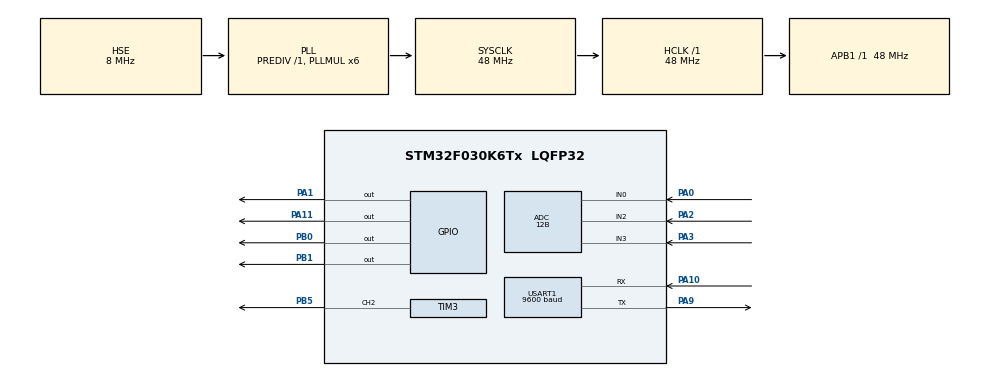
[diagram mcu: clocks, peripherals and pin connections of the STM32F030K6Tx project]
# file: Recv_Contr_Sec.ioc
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ADC.ClockPrescaler=ADC_CLOCK_ASYNC_DIV1
ADC.ContinuousConvMode=DISABLE
ADC.DMAContinuousRequests=ENABLE
ADC.DataAlign=ADC_DATAALIGN_RIGHT
ADC.DiscontinuousConvMode=DISABLE
ADC.EOCSelection=ADC_EOC_SINGLE_CONV
ADC.EnableAnalogWatchDog=false
ADC.ExternalTrigConv=ADC_SOFTWARE_START
ADC.ExternalTrigConvEdge=ADC_EXTERNALTRIGCONVEDGE_NONE
ADC.LowPowerAutoPowerOff=DISABLE
ADC.LowPowerAutoWait=DISABLE
ADC.Overrun=ADC_OVR_DATA_OVERWRITTEN
ADC.Rank=ADC_RANK_CHANNEL_NUMBER
ADC.Resolution=ADC_RESOLUTION_12B
ADC.SamplingTime=ADC_SAMPLETIME_1CYCLE_5
ADC.ScanConvMode=ADC_SCAN_DIRECTION_FORWARD
Dma.ADC.0.Direction=DMA_PERIPH_TO_MEMORY
Dma.ADC.0.Instance=DMA1_Channel1
Dma.ADC.0.MemDataAlignment=DMA_MDATAALIGN_WORD
Dma.ADC.0.MemInc=DMA_MINC_ENABLE
Dma.ADC.0.Mode=DMA_NORMAL
Dma.ADC.0.PeriphDataAlignment=DMA_PDATAALIGN_WORD
Dma.ADC.0.PeriphInc=DMA_PINC_DISABLE
Dma.ADC.0.Priority=DMA_PRIORITY_LOW
Dma.Request0=ADC
Dma.Request1=USART1_TX
Dma.USART1_TX.1.Direction=DMA_MEMORY_TO_PERIPH
Dma.USART1_TX.1.Instance=DMA1_Channel2
Dma.USART1_TX.1.MemDataAlignment=DMA_MDATAALIGN_BYTE
Dma.USART1_TX.1.MemInc=DMA_MINC_ENABLE
Dma.USART1_TX.1.Mode=DMA_NORMAL
Dma.USART1_TX.1.PeriphDataAlignment=DMA_PDATAALIGN_BYTE
Dma.USART1_TX.1.PeriphInc=DMA_PINC_DISABLE
Dma.USART1_TX.1.Priority=DMA_PRIORITY_LOW
IWDG.Prescaler=IWDG_PRESCALER_16
IWDG.Reload=0xfff
IWDG.Window=0xfff
Mcu.Family=STM32F0
Mcu.Name=STM32F030K6Tx
Mcu.Package=LQFP32
NVIC.DMA1_Channel1_IRQn=true\:0\:0\:false\:false\:true
NVIC.DMA1_Channel2_3_IRQn=true\:0\:0\:false\:false\:true
NVIC.TIM16_IRQn=true\:0\:0\:false\:false\:true
NVIC.USART1_IRQn=true\:0\:0\:false\:false\:true
PA0.Mode=IN0
PA0.Signal=ADC_IN0
PA1.GPIO_Speed=GPIO_SPEED_FREQ_HIGH
PA1.PinState=GPIO_PIN_SET
PA1.Signal=GPIO_Output
PA10.Mode=Asynchronous
PA10.Signal=USART1_RX
PA11.GPIO_PuPd=GPIO_PULLDOWN
PA11.GPIO_Speed=GPIO_SPEED_FREQ_HIGH
PA11.Signal=GPIO_Output
PA13.Mode=Serial_Wire
PA13.Signal=SYS_SWDIO
PA14.Mode=Serial_Wire
PA14.Signal=SYS_SWCLK
PA2.Mode=IN2
PA2.Signal=ADC_IN2
PA3.Mode=IN3
PA3.Signal=ADC_IN3
PA9.Mode=Asynchronous
PA9.Signal=USART1_TX
PB0.GPIO_Speed=GPIO_SPEED_FREQ_HIGH
PB0.Signal=GPIO_Output
PB1.GPIO_Speed=GPIO_SPEED_FREQ_HIGH
PB1.Signal=GPIO_Output
PB5.GPIO_PuPd=GPIO_NOPULL
PB5.GPIO_Speed=GPIO_SPEED_FREQ_HIGH
PB5.Signal=S_TIM3_CH2
PF0-OSC_IN.Mode=HSE-External-Oscillator
PF0-OSC_IN.Signal=RCC_OSC_IN
PF1-OSC_OUT.Mode=HSE-External-Oscillator
PF1-OSC_OUT.Signal=RCC_OSC_OUT
ProjectManager.HeapSize=0x200
ProjectManager.StackSize=0x400
ProjectManager.TargetToolchain=MDK-ARM V5
RCC.AHBFreq_Value=48000000
RCC.APB1Freq_Value=48000000
RCC.APB1TimFreq_Value=48000000
RCC.CECEnable=false
RCC.ClockTypeHCLK=RCC_CLOCKTYPE_HCLK
RCC.ClockTypePCLK1=RCC_CLOCKTYPE_PCLK1
RCC.DATA_CACHE_ENABLE=0
RCC.EnableHSE=true
RCC.EnableHSERTCDevisor=false
RCC.EnableLSE=false
RCC.EnableLSERTC=false
RCC.EnableMCOMultDivisor=false
RCC.HCLKFreq_Value=48000000
RCC.HSEState=RCC_HSE_ON
RCC.HSI14State=RCC_HSI14_ON
RCC.HSI48State=RCC_HSI48_OFF
RCC.HSIState=RCC_HSI_ON
RCC.I2C1Enable=false
RCC.INSTRUCTION_CACHE_ENABLE=0
RCC.IWDGEnable=true
RCC.LSIState=RCC_LSI_ON
RCC.MCOEnable=false
RCC.OscillatorTypeHSE=RCC_OSCILLATORTYPE_HSE
RCC.OscillatorTypeHSI=RCC_OSCILLATORTYPE_HSI
RCC.OscillatorTypeHSI14=RCC_OSCILLATORTYPE_HSI14
RCC.OscillatorTypeLSI=RCC_OSCILLATORTYPE_LSI
RCC.PLLMUL=RCC_PLL_MUL6
RCC.PLLSource=RCC_PLLSOURCE_HSE
RCC.PLLSourceVirtual=RCC_PLLSOURCE_HSE
RCC.PLLState=RCC_PLL_ON
RCC.RCC_PERIPHCLK_USART1Var=RCC_PERIPHCLK_USART1
RCC.RTCEnable=false
RCC.SYSCLKFreq_VALUE=48000000
RCC.SYSCLKSource=RCC_SYSCLKSOURCE_PLLCLK
RCC.USART1Enable=true
RCC.USART2Enable=false
RCC.USBEnable=false
RCC.Usart1ClockSelection=RCC_USART1CLKSOURCE_PCLK1
SH.S_TIM3_CH2.0=TIM3_CH2,PWM Generation2 CH2
TIM16.Period=560
TIM16.Prescaler=47
TIM3.Channel-PWM\ Generation2\ CH2=TIM_CHANNEL_2
TIM3.ClearInputSource=TIM_CLEARINPUTSOURCE_NONE
TIM3.ClearInputState=ENABLE
TIM3.Period=26
TIM3.Prescaler=47
TIM3.Pulse-PWM\ Generation2\ CH2=13
USART1.BaudRate=9600
USART1.HwFlowCtl-Asynchronous=UART_HWCONTROL_NONE
USART1.VirtualMode-Asynchronous=VM_ASYNC
VP_IWDG_VS_IWDG.Mode=IWDG_Activate
VP_TIM16_VS_ClockSourceINT.Mode=Enable_Timer
board=Recv_Contr_Sec

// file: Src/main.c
/**
  ******************************************************************************
  * File Name          : main.c
  * Description        : Main program body
  ******************************************************************************
  *
  * COPYRIGHT(c) 2019 STMicroelectronics
  *
  * Redistribution and use in source and binary forms, with or without modification,
  * are permitted provided that the following conditions are met:
  *   1. Redistributions of source code must retain the above copyright notice,
  *      this list of conditions and the following disclaimer.
  *   2. Redistributions in binary form must reproduce the above copyright notice,
  *      this list of conditions and the following disclaimer in the documentation
  *      and/or other materials provided with the distribution.
  *   3. Neither the name of STMicroelectronics nor the names of its contributors
  *      may be used to endorse or promote products derived from this software
  *      without specific prior written permission.
  *
  * THIS SOFTWARE IS PROVIDED BY THE COPYRIGHT HOLDERS AND CONTRIBUTORS "AS IS"
  * AND ANY EXPRESS OR IMPLIED WARRANTIES, INCLUDING, BUT NOT LIMITED TO, THE
  * IMPLIED WARRANTIES OF MERCHANTABILITY AND FITNESS FOR A PARTICULAR PURPOSE ARE
  * DISCLAIMED. IN NO EVENT SHALL THE COPYRIGHT HOLDER OR CONTRIBUTORS BE LIABLE
  * FOR ANY DIRECT, INDIRECT, INCIDENTAL, SPECIAL, EXEMPLARY, OR CONSEQUENTIAL
  * DAMAGES (INCLUDING, BUT NOT LIMITED TO, PROCUREMENT OF SUBSTITUTE GOODS OR
  * SERVICES; LOSS OF USE, DATA, OR PROFITS; OR BUSINESS INTERRUPTION) HOWEVER
  * CAUSED AND ON ANY THEORY OF LIABILITY, WHETHER IN CONTRACT, STRICT LIABILITY,
  * OR TORT (INCLUDING NEGLIGENCE OR OTHERWISE) ARISING IN ANY WAY OUT OF THE USE
  * OF THIS SOFTWARE, EVEN IF ADVISED OF THE POSSIBILITY OF SUCH DAMAGE.
  *
  ******************************************************************************
  */
#include "main.h"
#include "stm32f0xx_hal.h"
#include "adc.h"
#include "dma.h"
#include "iwdg.h"
#include "tim.h"
#include "usart.h"
#include "gpio.h"

/* USER CODE BEGIN PV */
/* Private variables ---------------------------------------------------------*/
//以下是充电控制的相关参数
uint32_t ADC_ConvertedValue[3];//AD采样结果存储
uint16_t Vot_Battery[30],Cur_Battery[30],Temp_Battery[30];
uint16_t Vot_Battery_Average,Cur_Battery_Average,Temp_Battery_Average;
uint8_t ADC_Cnt;

//以下是状态转换的相关参数
uint8_t SystemState;
uint16_t Cur_Start,CurStop;
uint8_t Flag_WorkMode_Conversion;
uint16_t TimeCnt_WorkMode_Conversion;
/*******************************************************
SystemState用以决定工作状态切换，暂定义如下：
0：未充电状态；1：正常充电状态。只有这两种状态，中间状态不做特殊处理
*******************************************************/

//以下是红外发射的相关参数
uint8_t Flag1,Flag2,BitCnt,Flag_Infray_Done;
uint8_t Flag_Zhen_No,Flag_Infray_WaitTime;
uint16_t Jiaoyan_Infray;

//只有Flag_Infray_Done标志为1时，才允许发射红外信号
uint32_t Infray_TransDat;//要发送的数据
uint16_t Period[32];//存储每一位数据对应的Pulse信息
uint16_t TimeCnt_Infray;//用以定时1秒钟，在停止态，每隔1秒钟，发送一次红外，一次2帧

//以下是车辆自身信息
uint32_t Bike_ID;

//以下是串口控制信息
uint8_t Flag_StartByte;//表征是否检测到字头
uint8_t Byte_Cnt;//对接收字节的数量进行计数
uint8_t Data_ReceArray[6];//存储接收到的串口数据，6个字节为一组，超时未接收完成则全部舍弃
uint8_t Data_ReceSingle;//单个接收字节
uint8_t Flag_Trans_Done,Flag_Rece_Done,TimeCnt485;
uint8_t SystInfo_Package[12];
uint16_t Jiaoyan485;

//以下是FLASH相关信息
uint32_t ReadFlashData;

/* USER CODE END PV */

void SystemClock_Config(void);
void Error_Handler(void);

/* USER CODE BEGIN PFP */
/* Private function prototypes -----------------------------------------------*/
//红外发射函数，形参为要发送的32位数值
void Ir_Tx(uint32_t Dat);
//红外待发信息打包函数
void Infray_InfoPackage_First_First(void);//打包第一类帧第一分帧
void Infray_InfoPackage_First_Second(void);//打包第一类帧第二分帧
void Infray_InfoPackage_Second(void);//打包第二类帧

//FLASH读写函数
uint32_t ReadFlash(uint32_t Address);//读指定位置上的数值，一次读取4个字节
void WriteFlash(uint32_t Address);//向指定地址上写数据，半字操作，即一次写入两个字节

//变量初始化函数
void Variable_Init(void);

//全部信息打包及发送函数
void Info_Trans(void);
void Info_Package(void);

//求AD平均值函数
void ADC_Average_Function(void);

/* USER CODE END PFP */

/* USER CODE BEGIN 0 */
#define FLASH_RW_StartAddress ((uint32_t) 0x08007C04)  //FLASH第31页起始地址向后偏移4个字节，共32页，每页1k
#define Cur_Start 100
#define Cur_Stop  50
/* USER CODE END 0 */

int main(void)
{

  /* USER CODE BEGIN 1 */
	uint8_t ss,sum;
  /* USER CODE END 1 */

  /* MCU Configuration----------------------------------------------------------*/

  /* Reset of all peripherals, Initializes the Flash interface and the Systick. */
  HAL_Init();

  /* Configure the system clock */
  SystemClock_Config();

  /* Initialize all configured peripherals */
  MX_GPIO_Init();
  MX_DMA_Init();
  MX_ADC_Init();
  MX_TIM3_Init();
  MX_USART1_UART_Init();
  MX_TIM16_Init();
  MX_IWDG_Init();

  /* USER CODE BEGIN 2 */

	//变量初始化，包括车辆ID的读取，以及一些状态变量的设定
	Variable_Init();
	//使能485接收，开启中断单字节接收模式
	Rece_485_En();
	HAL_UART_Receive_IT(&huart1,&Data_ReceSingle,1);

	Flag_Infray_Done=1;//启动红外功能
	//上电1s后启动PMOS，旁路热敏电阻
	LED1_ON();LED2_ON();
	HAL_Delay(1000);
	MOS_Switch_ON();

	__HAL_IWDG_START(&hiwdg);//定时1.68秒

  /* USER CODE END 2 */

  /* Infinite loop */
  while (1)
  {

  /* USER CODE BEGIN 3 */
		//求三路AD的平均值
		ADC_Average_Function();
		HAL_IWDG_Refresh(&hiwdg);
		//485通信计时
		if(Flag_StartByte)
		{
			if(TimeCnt485>50)//已检测到字头，但50ms内未接收完成6个字节，则复位重新接收
			{
				Flag_StartByte=0;
				TimeCnt485=0;
				Byte_Cnt=0;
			}
		}
		//485指令解析
		if(Flag_Rece_Done)//接收完成6个字节的有效数据，进行处理
		{
			Flag_Rece_Done=0;
			sum=0;//求和值先清零
			for(ss=1;ss<5;ss++)
			{
				sum+=Data_ReceArray[ss];
			}
			if(sum==Data_ReceArray[5])//判断校验，校验失败则不做任何处理
			{
				switch(Data_ReceArray[0])
				{
					case 0x0F:
					{
						Info_Trans();
						break;
					}
					case 0x1E:
					{
						//修改车载设备编号，写入FLASH，然后反馈所有电路信息
						Bike_ID=0;
						Bike_ID+=Data_ReceArray[4];
						Bike_ID=Bike_ID<<8;
						Bike_ID+=Data_ReceArray[3];
						Bike_ID=Bike_ID<<8;
						Bike_ID+=Data_ReceArray[2];
						Bike_ID=Bike_ID<<8;
						Bike_ID+=Data_ReceArray[1];
						WriteFlash(FLASH_RW_StartAddress);
						Info_Trans();
						break;
					}
					default:
					{
						Info_Trans();
						break;
					}
				}
			}
		}
		//状态处理
		switch(SystemState)
		{
			case 0:
			{
				//红外发射判定--停止态，发送红外第一类帧的两个分帧以及第二类帧
				if(Flag_Infray_WaitTime)//1秒钟触发一次
				{
					//Flag_Zhen_No的转换在定时器中断中实现
					if(Flag_Infray_Done)
					{
						Flag_Infray_Done=0;
						HAL_Delay(100);
						if(Flag_Zhen_No==0)//发送第一类帧第一分帧
						{
							Infray_InfoPackage_First_First();
							Ir_Tx(Infray_TransDat);
						}
						else if(Flag_Zhen_No==1)//发送第一类帧第二分帧
						{
							Infray_InfoPackage_First_Second();
							Ir_Tx(Infray_TransDat);
						}
						else//发送第二类帧
						{
							Flag_Infray_WaitTime=0;
							Infray_InfoPackage_Second();
							Ir_Tx(Infray_TransDat);
						}
					}
				}
				//状态转换判定--充电电流作为判断标准
				if(Cur_Battery_Average>Cur_Start)
				{
					if(!Flag_WorkMode_Conversion)//首次检测到输入电压超出设定的阈值
					{
						Flag_WorkMode_Conversion=1;//设置标志位
					}
					else//之前已检测到输入电压过高，此处对有电流的时间进行计时判断
					{
						if(Flag_WorkMode_Conversion>2)//值-1即已延时的秒数，此处判断有电流的时间是否已持续1s
						{
							SystemState=1;
							Flag_WorkMode_Conversion=0;
							TimeCnt_WorkMode_Conversion=0;
						}//如果持续时间未到，则不动作
					}
				}
				//有电流，则设置Flag_WorkMode_Conversion标志位，并开始计数
				//电流过低，则清除标志位，重新检测，只有电流持续存在，才会使得Flag_WorkMode_Conversion持续增加
				if(Cur_Battery_Average<Cur_Stop)
				{
					Flag_WorkMode_Conversion=0;
					TimeCnt_WorkMode_Conversion=0;
				}
				break;
			}
			case 1:
			{
				//红外发射判定--充电态，发送红外第二类帧
				if(Flag_Infray_Done)
				{
					HAL_Delay(100);
					Infray_InfoPackage_Second();
					Ir_Tx(Infray_TransDat);
				}
				//状态转换判定--充电电流作为判断标准
				if(Cur_Battery_Average<Cur_Stop)
				{
					if(!Flag_WorkMode_Conversion)//首次检测到电流小于设定阈值
					{
						Flag_WorkMode_Conversion=1;//设置标志位
					}
					else//之前已检测到电流过小，此处对电流过小的时间进行计时判断
					{
						if(Flag_WorkMode_Conversion>31)//值-1即已延时的秒数，此处判断电流过小是否已持续30秒
						{
							SystemState=0;
							Flag_WorkMode_Conversion=0;
							TimeCnt_WorkMode_Conversion=0;

							//设定红外要继续发送
							Flag_Zhen_No=0;
							Flag_Infray_Done=1;
							Flag_Infray_WaitTime=1;
						}//如果时间未到30s，不动作
					}
				}
				//电流过小，则设置Flag_WorkMode_Conversion标志位，并开始计数
				//电流值恢复，则清除标志位，重新检测，只有电流值持续过小，才会使得Flag_WorkMode_Conversion持续增加
				if(Cur_Battery_Average>Cur_Start)
				{
					Flag_WorkMode_Conversion=0;
					TimeCnt_WorkMode_Conversion=0;
				}
				break;
			}
			default:
			{
				SystemState=0;
				break;
			}
		}
  }
  /* USER CODE END 3 */

}

/** System Clock Configuration
*/
void SystemClock_Config(void)
{

  RCC_OscInitTypeDef RCC_OscInitStruct;
  RCC_ClkInitTypeDef RCC_ClkInitStruct;
  RCC_PeriphCLKInitTypeDef PeriphClkInit;

    /**Initializes the CPU, AHB and APB busses clocks
    */
  RCC_OscInitStruct.OscillatorType = RCC_OSCILLATORTYPE_HSE;
  RCC_OscInitStruct.HSEState = RCC_HSE_ON;
  RCC_OscInitStruct.HSI14State = RCC_HSI14_ON;
  RCC_OscInitStruct.HSI14CalibrationValue = 16;
  RCC_OscInitStruct.LSIState = RCC_LSI_ON;
  RCC_OscInitStruct.PLL.PLLState = RCC_PLL_ON;
  RCC_OscInitStruct.PLL.PLLSource = RCC_PLLSOURCE_HSE;
  RCC_OscInitStruct.PLL.PLLMUL = RCC_PLL_MUL6;
  RCC_OscInitStruct.PLL.PREDIV = RCC_PREDIV_DIV1;
  if (HAL_RCC_OscConfig(&RCC_OscInitStruct) != HAL_OK)
  {
    Error_Handler();
  }

    /**Initializes the CPU, AHB and APB busses clocks
    */
  RCC_ClkInitStruct.ClockType = RCC_CLOCKTYPE_HCLK|RCC_CLOCKTYPE_SYSCLK
                              |RCC_CLOCKTYPE_PCLK1;
  RCC_ClkInitStruct.SYSCLKSource = RCC_SYSCLKSOURCE_PLLCLK;
  RCC_ClkInitStruct.AHBCLKDivider = RCC_SYSCLK_DIV1;
  RCC_ClkInitStruct.APB1CLKDivider = RCC_HCLK_DIV1;

  if (HAL_RCC_ClockConfig(&RCC_ClkInitStruct, FLASH_LATENCY_1) != HAL_OK)
  {
    Error_Handler();
  }

  PeriphClkInit.PeriphClockSelection = RCC_PERIPHCLK_USART1;
  PeriphClkInit.Usart1ClockSelection = RCC_USART1CLKSOURCE_PCLK1;
  if (HAL_RCCEx_PeriphCLKConfig(&PeriphClkInit) != HAL_OK)
  {
    Error_Handler();
  }

    /**Configure the Systick interrupt time
    */
  HAL_SYSTICK_Config(HAL_RCC_GetHCLKFreq()/1000);

    /**Configure the Systick
    */
  HAL_SYSTICK_CLKSourceConfig(SYSTICK_CLKSOURCE_HCLK);

  /* SysTick_IRQn interrupt configuration */
  HAL_NVIC_SetPriority(SysTick_IRQn, 0, 0);
}

/* USER CODE BEGIN 4 */

//SystemTick 1ms中断
void HAL_SYSTICK_Callback(void)
{
	//485通信相关计时及标志
	if(Flag_StartByte)//检测到485字头，开启计时，超时未接收完，则舍弃全部接收到的数据，重新检测字头
	{
		if(TimeCnt485<255)
		{
			TimeCnt485++;
		}
	}

	//开启一次ADC采样
	//AD校准？
	HAL_ADC_Start_DMA(&hadc,ADC_ConvertedValue,3);

	//红外定时计数
	if(SystemState==0)
	{
		TimeCnt_Infray++;
		if(TimeCnt_Infray>500)
		{
			Flag_Infray_WaitTime=1;
			TimeCnt_Infray=0;
		}
	}

	//工作状态转换相关计时及标志
	if(Flag_WorkMode_Conversion)
	{
		TimeCnt_WorkMode_Conversion++;
		if(TimeCnt_WorkMode_Conversion>1000)//计时达到1s
		{
			TimeCnt_WorkMode_Conversion=0;
			Flag_WorkMode_Conversion++;
		}
	}
}

//变量初始化工作
void Variable_Init()
{
	uint8_t num;
	//读取FLASH中存储的车辆编码
	ReadFlashData=ReadFlash(FLASH_RW_StartAddress);
	Bike_ID=ReadFlashData;//车辆编码

	if(Bike_ID==0xffffffff)
		Bike_ID=8;

	//初始化工作状态为停止态，发送车辆编号信息
	SystemState=0;
	Flag_WorkMode_Conversion=0;
	TimeCnt_WorkMode_Conversion=0;

	//红外相关变量初始化
	Flag1=0;Flag2=0;
	BitCnt=0;Flag_Infray_Done=1;//开启红外发射
	Flag_Zhen_No=0;Jiaoyan_Infray=0;
	TimeCnt_Infray=0;

	//串口相关变量初始化
	Flag_StartByte=0;Byte_Cnt=0;TimeCnt485=0;
	Flag_Trans_Done=0;Flag_Rece_Done=0;

	//ADC采样值初始化
	Vot_Battery_Average=0;
	Cur_Battery_Average=0;
	Temp_Battery_Average=0;
	for(num=0;num<30;num++)
	{
		Vot_Battery[num]=0;
		Cur_Battery[num]=0;
		Temp_Battery[num]=0;
	}

}

//FLASH读数据函数
uint32_t ReadFlash(uint32_t Address)
{
	uint32_t Result;
	Result=*(__IO uint32_t*)(Address);
	return Result;
}

//FLASH写数据函数-写入车辆编号
void WriteFlash(uint32_t Address)
{
	//FLASH存储操作，对于Stm32F103RCT6，其内存大小为256K，共128页，每页2K
	FLASH_EraseInitTypeDef Flash;
	uint32_t PageError;

	HAL_FLASH_Unlock();//解锁写保护
	//定义擦除对象
	Flash.TypeErase=FLASH_TYPEERASE_PAGES;
	Flash.PageAddress=FLASH_RW_StartAddress;
	Flash.NbPages=1;
	//设置PageError
	PageError=0;//0xFFFFFFFF means that all the pages have been correctly erased
	//调用擦除函数
	HAL_FLASHEx_Erase(&Flash,&PageError);
	//烧写FLASH
	HAL_FLASH_Program(FLASH_TYPEPROGRAM_WORD,Address,Bike_ID);
	HAL_FLASH_Lock();
}

//串口发送完成中断
void HAL_UART_TxCpltCallback(UART_HandleTypeDef *huart)
{
	Flag_Trans_Done=1;
	Rece_485_En();
	HAL_UART_Receive_IT(&huart1,&Data_ReceSingle,1);
}

//串口接收完成中断
void HAL_UART_RxCpltCallback(UART_HandleTypeDef *huart)
{
	if(!Flag_StartByte)//未检测到字头，需要先检测字头
	{
		if(Data_ReceSingle==0x55)
		{
			Flag_StartByte=1;//已检测到字头，标记置1
		}
	}
	else//已检测到字头，需要填充有效数据
	{
		Data_ReceArray[Byte_Cnt]=Data_ReceSingle;
		if(Byte_Cnt<5)//有效数据6个字节，下标最多到5
		{
			Byte_Cnt++;
		}
		else//已接收满，重新检测字头，清除485计时，字节下标归0，设定标志位
		{
			Flag_StartByte=0;
			TimeCnt485=0;
			Byte_Cnt=0;
			Flag_Rece_Done=1;
		}
	}

	HAL_UART_Receive_IT(&huart1,&Data_ReceSingle,1);
}

//接收端所有信息发送
void Info_Trans(void)
{
	Trans_485_En();
	Info_Package();
	HAL_UART_Transmit_DMA(&huart1,SystInfo_Package,sizeof(SystInfo_Package));
}

//485信息打包
void Info_Package(void)
{
	uint8_t i;

	//存储到FLASH中的值，必须再从FLASH中直接读取，以验证确实已正确的写入了FLASH
	SystInfo_Package[0]=0xaa;//开始字头

	//读取FLASH中存储的Bike_ID
	ReadFlashData=ReadFlash(FLASH_RW_StartAddress);
	Bike_ID=ReadFlashData;//车辆编码

	SystInfo_Package[1]=Bike_ID;//车辆编码低8位
	SystInfo_Package[2]=Bike_ID>>8;//车辆编码9-16位
	SystInfo_Package[3]=Bike_ID>>16;//车辆编码17-24位
	SystInfo_Package[4]=Bike_ID>>24;//车辆编码25-32位

	//写入电池电压、电流、温度等信息
	SystInfo_Package[5]=Vot_Battery_Average;//电池电压低8位
	SystInfo_Package[6]=Cur_Battery_Average;//电池电流低8位
	SystInfo_Package[7]=(Vot_Battery_Average>>4)&0xf0;//取电池电压9-12位，放入高4位
	SystInfo_Package[7]+=(Cur_Battery_Average>>8)&0x0f;//取电池电流9-12位，放入低4位
	//写入电池温度信息
	SystInfo_Package[8]=Temp_Battery_Average;//电池温度低8位
	SystInfo_Package[9]=(Temp_Battery_Average>>8)&0x0f;//取电池温度9-12位，放入低4位

	//计算校验值
	Jiaoyan485=0;
	for(i=1;i<10;i++)
	{
		Jiaoyan485+=SystInfo_Package[i];
	}
	SystInfo_Package[10]=Jiaoyan485;//校验值低8位
	SystInfo_Package[11]=Jiaoyan485>>8;//校验值高8位

}

//打包红外第一类帧第一分帧
void Infray_InfoPackage_First_First(void)
{
	uint8_t Temp;//用以按字节拆分Bike_ID

	Infray_TransDat=0x33;//先输入帧头
	//提取编号数据
	Infray_TransDat=Infray_TransDat<<8;
	Temp=Bike_ID;
	Infray_TransDat+=Temp;

	Infray_TransDat=Infray_TransDat<<8;
	Temp=Bike_ID>>8;
	Infray_TransDat+=Temp;

	Infray_TransDat=Infray_TransDat<<8;
	Temp=Bike_ID>>16;
	Infray_TransDat+=Temp;
}
//打包红外第一类帧第二分帧
void Infray_InfoPackage_First_Second(void)
{
	uint8_t Temp;

	Infray_TransDat=0x39;//先输入帧头

	Infray_TransDat=Infray_TransDat<<8;
	Temp=Bike_ID>>24;
	Infray_TransDat+=Temp;
	//计算校验值
	Jiaoyan_Infray=0;

	Temp=Bike_ID;
	Jiaoyan_Infray+=Bike_ID;
	Temp=Bike_ID>>8;
	Jiaoyan_Infray+=Temp;
	Temp=Bike_ID>>16;
	Jiaoyan_Infray+=Temp;
	Temp=Bike_ID>>24;
	Jiaoyan_Infray+=Temp;

	Infray_TransDat=Infray_TransDat<<16;
	Infray_TransDat+=Jiaoyan_Infray;
}
//打包红外第二类帧
void Infray_InfoPackage_Second(void)
{
	uint8_t Temp1,Temp2;

	Temp1=0;

	Infray_TransDat=Cur_Battery_Average&0xfff;//写入电池电流值，取低12位
	Infray_TransDat=Infray_TransDat<<12;
	Infray_TransDat+=(Vot_Battery_Average&0xfff);//写入电池电压值，取低12位

	//计算校验值
	Temp2=Infray_TransDat;
	Temp1+=Temp2;
	Temp2=Infray_TransDat>>8;
	Temp1+=Temp2;
	Temp2=Infray_TransDat>>16;
	Temp1+=Temp2;
	//取校验值高4位
	Temp1=Temp1>>4;
	Temp1&=0x0f;
	//写入帧头
	Temp1+=0xC0;

	Infray_TransDat+=Temp1*16777216;//2的24次方，相当于左移24位
}

//红外发射函数定义
void Ir_Tx(uint32_t Dat)
{
	uint8_t i;
	for(i=0;i<32;i++)
	{
		if(Dat&0x80000000)
			Period[i]=1680;
		else
			Period[i]=560;
		Dat=Dat<<1;
	}

	__HAL_TIM_SET_COUNTER(&htim16,0);
	__HAL_TIM_CLEAR_FLAG(&htim16,TIM_FLAG_UPDATE);
	__HAL_TIM_SET_AUTORELOAD(&htim16,9000);
	Flag1=0;Flag2=0;BitCnt=0;
	HAL_TIM_Base_Start_IT(&htim3);
	HAL_TIM_PWM_Start(&htim3,TIM_CHANNEL_2);
	HAL_TIM_Base_Start_IT(&htim16);
}

//红外发射的中断处理
void HAL_TIM_PeriodElapsedCallback(TIM_HandleTypeDef *htim)//定时器更新事件的回调函数
{
	//控制红外的TIM3未开中断，因此不需要处理
	if(htim->Instance==TIM16)
	{
		if(Flag1==0)//表明处于引导码发射
		{
			if(Flag2==0)//表明刚完成PWM发射，需要关断一段时间
			{
				HAL_TIM_PWM_Stop(&htim3,TIM_CHANNEL_2);
				Flag2=1;
				__HAL_TIM_SET_AUTORELOAD(&htim16,4500);
			}
			else//表明引导码高低电平均已完成
			{
				HAL_TIM_PWM_Start(&htim3,TIM_CHANNEL_2);
				Flag1=1;Flag2=0;
				__HAL_TIM_SET_AUTORELOAD(&htim16,560);//载波560us
			}
		}
		else//完成引导码发射
		{
			if(Flag2==0)
			{
				HAL_TIM_PWM_Stop(&htim3,TIM_CHANNEL_2);
				Flag2=1;
				__HAL_TIM_SET_AUTORELOAD(&htim16,Period[BitCnt]);
				if(BitCnt>31)
				{
					HAL_TIM_Base_Stop_IT(&htim16);
					HAL_TIM_Base_Stop_IT(&htim3);
					Flag_Infray_Done=1;//红外发送完成标志，只有完成发射，才能进行下一帧发射

					//停止态，在第一分帧和第二分帧之间切换
					if(!SystemState)
					{
						Flag_Zhen_No++;
						if(Flag_Zhen_No>2)
						{
							Flag_Zhen_No=0;
							LED2_TOGGLE();
						}
					}
				}
				else
					BitCnt++;
			}
			else
			{
				HAL_TIM_PWM_Start(&htim3,TIM_CHANNEL_2);
				Flag2=0;
				__HAL_TIM_SET_AUTORELOAD(&htim16,560);
			}
		}
	}
	__HAL_TIM_CLEAR_FLAG(htim,TIM_FLAG_UPDATE);
}

//ADC中断处理
void HAL_ADC_ConvCpltCallback(ADC_HandleTypeDef* hadc)
{

	Cur_Battery[ADC_Cnt]=ADC_ConvertedValue[0]&0xfff;
	Temp_Battery[ADC_Cnt]=ADC_ConvertedValue[1]&0xfff;
	Vot_Battery[ADC_Cnt]=ADC_ConvertedValue[2]&0xfff;

	ADC_Cnt++;
	if(ADC_Cnt>29)
		ADC_Cnt=0;
}

//ADC结果求平均
void ADC_Average_Function(void)
{
	uint8_t kk;
	uint32_t ADC_Sum_Vot,ADC_Sum_Cur,ADC_Sum_Temp;

	ADC_Sum_Vot=0;
	ADC_Sum_Cur=0;
	ADC_Sum_Temp=0;

	for(kk=0;kk<30;kk++)
	{
		ADC_Sum_Vot+=Vot_Battery[kk];
		ADC_Sum_Cur+=Cur_Battery[kk];
		ADC_Sum_Temp+=Temp_Battery[kk];
	}

	Vot_Battery_Average=ADC_Sum_Vot/30;
	Cur_Battery_Average=ADC_Sum_Cur/30;
	Temp_Battery_Average=ADC_Sum_Temp/30;

}

/* USER CODE END 4 */

void Error_Handler(void)
{
  while(1)
  {
  }
}

/************************ (C) COPYRIGHT STMicroelectronics *****END OF FILE****/
